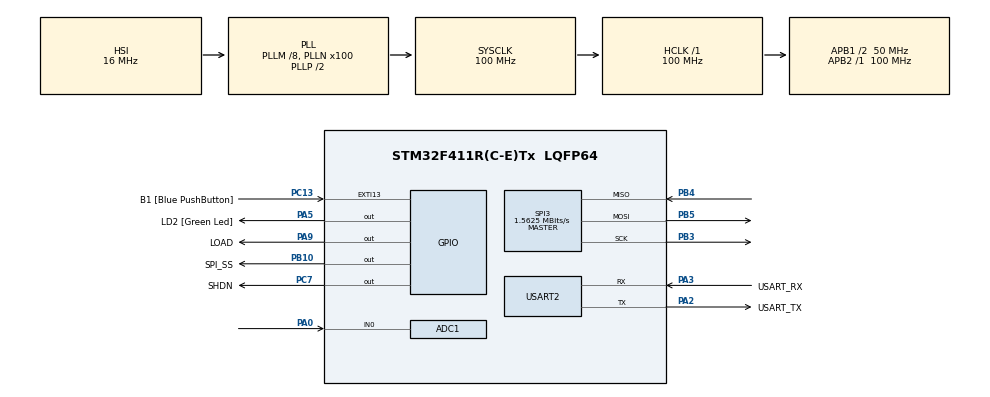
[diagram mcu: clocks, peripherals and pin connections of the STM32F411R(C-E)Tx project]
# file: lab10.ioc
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Mcu.Family=STM32F4
PB10.PinState=GPIO_PIN_SET
RCC.CortexFreq_Value=100000000
SPI3.Direction=SPI_DIRECTION_2LINES
SPI3.VirtualType=VM_MASTER
PA14.GPIO_Label=TCK
RCC.SYSCLKSource=RCC_SYSCLKSOURCE_PLLCLK
ProjectManager.StackSize=0x400
NVIC.ADC_IRQn=true\:0\:0\:false\:false\:true\:true\:true
PH0\ -\ OSC_IN.Signal=RCC_OSC_IN
RCC.HCLKFreq_Value=100000000
RCC.APB2TimFreq_Value=100000000
TIM3.Period=100
Dma.ADC1.0.Direction=DMA_PERIPH_TO_MEMORY
PC7.Signal=GPIO_Output
NVIC.DMA2_Stream0_IRQn=true\:0\:0\:false\:false\:true\:false\:true
Dma.ADC1.0.MemDataAlignment=DMA_MDATAALIGN_HALFWORD
RCC.AHBFreq_Value=100000000
SPI3.DataSize=SPI_DATASIZE_16BIT
NVIC.TIM1_TRG_COM_TIM11_IRQn=true\:0\:0\:false\:false\:true\:true\:true
RCC.HSE_VALUE=8000000
PB3.Mode=Full_Duplex_Master
PC13-ANTI_TAMP.Signal=GPXTI13
PB4.Mode=Full_Duplex_Master
PC14-OSC32_IN.Mode=LSE-External-Oscillator
PA14.Mode=Serial_Wire
TIM3.Prescaler=99
Dma.ADC1.0.PeriphInc=DMA_PINC_DISABLE
PB5.Mode=Full_Duplex_Master
PC7.PinState=GPIO_PIN_SET
SH.ADCx_IN0.0=ADC1_IN0,IN0
RCC.FLatency-AdvancedSettings=FLASH_LATENCY_3
Mcu.Package=LQFP64
SPI3.Mode=SPI_MODE_MASTER
USART2.VirtualMode=VM_ASYNC
PA2.GPIO_Label=USART_TX
NVIC.SPI3_IRQn=true\:0\:0\:false\:false\:true\:true\:true
RCC.APB1TimFreq_Value=100000000
Dma.ADC1.0.FIFOMode=DMA_FIFOMODE_DISABLE
Dma.Request0=ADC1
VP_TIM3_VS_ClockSourceINT.Mode=Internal
PB4.Signal=SPI3_MISO
PA3.Signal=USART2_RX
PC15-OSC32_OUT.Mode=LSE-External-Oscillator
Dma.ADC1.0.Instance=DMA2_Stream0
PC13-ANTI_TAMP.GPIO_Label=B1 [Blue PushButton]
PA9.GPIO_Label=LOAD
PH1\ -\ OSC_OUT.Mode=HSE-External-Clock-Source
TIM11.Prescaler=99
RCC.APB1CLKDivider=RCC_HCLK_DIV2
PC14-OSC32_IN.Signal=RCC_OSC32_IN
NVIC.USART2_IRQn=true\:0\:0\:false\:false\:true\:true\:true
PA0-WKUP.Signal=ADCx_IN0
VP_TIM11_VS_ClockSourceINT.Mode=Enable_Timer
PA13.Signal=SYS_JTMS-SWDIO
PA3.Mode=Asynchronous
Dma.ADC1.0.PeriphDataAlignment=DMA_PDATAALIGN_HALFWORD
PH0\ -\ OSC_IN.Mode=HSE-External-Clock-Source
ProjectManager.TargetToolchain=STM32CubeIDE
PB10.GPIO_Label=SPI_SS
Dma.ADC1.0.Mode=DMA_CIRCULAR
Dma.ADC1.0.Priority=DMA_PRIORITY_LOW
PA9.Signal=GPIO_Output
ADC1.Channel-1\#ChannelRegularConversion=ADC_CHANNEL_0
PA9.PinState=GPIO_PIN_SET
PC15-OSC32_OUT.Signal=RCC_OSC32_OUT
PB10.Signal=GPIO_Output
PA5.Signal=GPIO_Output
PH1\ -\ OSC_OUT.Signal=RCC_OSC_OUT
board=NUCLEO-F411RE
RCC.VCOOutputFreq_Value=200000000
NVIC.TIM3_IRQn=true\:0\:0\:false\:false\:true\:true\:true
RCC.APB2Freq_Value=100000000
SPI3.CalculateBaudRate=1.5625 MBits/s
SPI3.BaudRatePrescaler=SPI_BAUDRATEPRESCALER_32
PA13.Mode=Serial_Wire
Mcu.Name=STM32F411R(C-E)Tx
PA2.Signal=USART2_TX
PA13.GPIO_Label=TMS
ADC1.ExternalTrigConv=ADC_EXTERNALTRIGCONV_T3_TRGO
PC7.GPIO_Label=SHDN
RCC.48MHZClocksFreq_Value=50000000
PB3.Signal=SPI3_SCK
ADC1.SamplingTime-1\#ChannelRegularConversion=ADC_SAMPLETIME_3CYCLES
RCC.SYSCLKFreq_VALUE=100000000
PB5.Signal=SPI3_MOSI
ADC1.master=1
PA5.GPIO_Label=LD2 [Green Led]
PC13-ANTI_TAMP.GPIO_ModeDefaultEXTI=GPIO_MODE_IT_FALLING
ADC1.Rank-1\#ChannelRegularConversion=1
PA14.Signal=SYS_JTCK-SWCLK
Dma.ADC1.0.MemInc=DMA_MINC_ENABLE
ProjectManager.HeapSize=0x200
RCC.HSI_VALUE=16000000
NVIC.PriorityGroup=NVIC_PRIORITYGROUP_0
ADC1.NbrOfConversionFlag=1
RCC.PLLM=8
RCC.PLLN=100
PA2.Mode=Asynchronous
TIM3.TIM_MasterOutputTrigger=TIM_TRGO_UPDATE
RCC.APB1Freq_Value=50000000
PA3.GPIO_Label=USART_RX

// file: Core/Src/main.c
/* USER CODE BEGIN Header */
/**
 ******************************************************************************
 * @file           : main.c
 * @brief          : Main program body
 ******************************************************************************
 * @attention
 *
 * <h2><center>&copy; Copyright (c) 2021 STMicroelectronics.
 * All rights reserved.</center></h2>
 *
 * This software component is licensed by ST under BSD 3-Clause license,
 * the "License"; You may not use this file except in compliance with the
 * License. You may obtain a copy of the License at:
 *                        opensource.org/licenses/BSD-3-Clause
 *
 ******************************************************************************
 */
/* USER CODE END Header */
#include "main.h"
#include <string.h>
#include <stdio.h>
#include <math.h>

ADC_HandleTypeDef hadc1;
DMA_HandleTypeDef hdma_adc1;

SPI_HandleTypeDef hspi3;

TIM_HandleTypeDef htim3;
TIM_HandleTypeDef htim11;

UART_HandleTypeDef huart2;

/* USER CODE BEGIN PV */
uint16_t ADCin = 0;
uint64_t _micro = 0;
uint16_t dataOut = 0;
uint8_t DACConfig = 0b0011;
float frequency=1.0;
float Heigh_Wave_Volt =3.3;
float Low_Wave_Volt=0;
float Voltage_Output=0;
float T_On=0;
float T_Off=0;
float Duty_Cycle=30.0;
double Radian=0;
int Slope=0;
int Wave=0;
char TxDataBuffer[32] =
{ 0 };
char RxDataBuffer[32] =
{ 0 };
uint16_t STATE_Display = 0;
enum _StateDisplay
		{
			StateDisplay_Start = 0,
			StateDisplay_Menu_Print =10,
			StateDisplay_Menu_Wait_Input =20,
			StateDisplay_Wave_Form_Sawtooth=30,
			StateDisplay_Wave_Form_Sine =40,
			StateDisplay_Wave_Form_Square=50,
			StateDisplay_Increase_Frequency =60,
			StateDisplay_Decrease_Frequency=70,
			StateDisplay_Frequency_Control=80,
			StateDisplay_Wave_Form_Sawtooth_Menu=90,
			StateDisplay_Wave_Form_Sine_Menu=100,
			StateDisplay_Wave_Form_Square_Menu=110,
			StateDisplay_Volt_Control=120,
			StateDisplay_Slope_Control=130,
			StateDisplay_Duty_Control=140,
			StateDisplay_Duty_Menu=150,
			StateDisplay_Volt_Menu=160,
			StateDisplay_Slope_Menu=170,
			StateDisplay_Frequency_Menu_Print=180,

		};
/* USER CODE END PV */

void SystemClock_Config(void);
static void MX_GPIO_Init(void);
static void MX_DMA_Init(void);
static void MX_USART2_UART_Init(void);
static void MX_ADC1_Init(void);
static void MX_SPI3_Init(void);
static void MX_TIM11_Init(void);
static void MX_TIM3_Init(void);
/* USER CODE BEGIN PFP */
void MCP4922SetOutput(uint8_t Config, uint16_t DACOutput);
uint64_t micros();
int16_t UARTRecieveIT();
/* USER CODE END PFP */

int main(void)
{

  /* MCU Configuration--------------------------------------------------------*/

  /* Reset of all peripherals, Initializes the Flash interface and the Systick. */
  HAL_Init();

  /* Configure the system clock */
  SystemClock_Config();

  /* Initialize all configured peripherals */
  MX_GPIO_Init();
  MX_DMA_Init();
  MX_USART2_UART_Init();
  MX_ADC1_Init();
  MX_SPI3_Init();
  MX_TIM11_Init();
  MX_TIM3_Init();
  /* USER CODE BEGIN 2 */
	HAL_TIM_Base_Start(&htim3);
	HAL_TIM_Base_Start_IT(&htim11);
	HAL_ADC_Start_DMA(&hadc1, (uint32_t*) &ADCin, 1);
	 char Menu[]= "Sawtooth wave form  please press 1\r\n Sine wave form please press 2\r\n  Square wave form please press 3\r\n";
	 char Sawtooth_Menu[]="a: Control Frequency\r\n v:Control Voltage\r\n s: Control Slope\r\n x:Back\r\n ";
	 char Sine_Menu[]="a: Control Frequency\r\n v:Control Voltage\r\n x:Back\r\n";
	 char Square_Menu[]="a:Control Frequency\r\n v:Control Voltage\r\n D:Duty Control\r\n";
	 char Control_Frequency[]="a:+0.1 Frequency\r\n d:-0.1 Frequency\r\n x:Back\r\n";
	 char Control_Voltage[]="a:+0.1 Heigh_Wave_Volt\r\n d:-0.1 High_Wave_Volt\r\n m:+0.1 Low_Wave_Volt\r\n n: -0.1 Low_Wave_Volt\r\n";
	 char Control_Duty_Cycle[]="a: +10% Duty Cycle\r\n d: -10% Duty Cycle\r\n";
	 char Control_Slope[]="a: Slope Up\r\n d: Slope Down\r\n";
	 char Volt[30] = "";
	 char Frequency[20] = "";
	 char Slope_Characteristic[25]="";
	 char Sawtooth[]="Wave form Sawtooth\r\n";
	 char Sine[]="Wave form Sine\r\n";
	 char Square[]="Wave form Square\r\n";

	HAL_GPIO_WritePin(LOAD_GPIO_Port, LOAD_Pin, GPIO_PIN_RESET);
  /* USER CODE END 2 */

  /* Infinite loop */
  /* USER CODE BEGIN WHILE */
	while (1)
	{
		HAL_UART_Receive_IT(&huart2, (uint8_t*)RxDataBuffer, 32);
		int16_t inputchar = UARTRecieveIT();
		if(inputchar!=-1)
				{

					sprintf(TxDataBuffer, "ReceivedChar:[%c]\r\n", inputchar);
					HAL_UART_Transmit(&huart2, (uint8_t*)TxDataBuffer, strlen(TxDataBuffer), 1000);
				}

		switch(STATE_Display)
		{
		case StateDisplay_Start:
			STATE_Display = StateDisplay_Menu_Print;
			break;
		case StateDisplay_Menu_Print:
			HAL_UART_Transmit(&huart2, (uint8_t*)Menu, strlen(Menu), 10);
			STATE_Display = StateDisplay_Menu_Wait_Input;
			break;
		case StateDisplay_Menu_Wait_Input:
			if(inputchar=='1')
			{
				STATE_Display = StateDisplay_Wave_Form_Sawtooth;
				HAL_UART_Transmit(&huart2, (uint8_t*)Sawtooth, strlen(Sawtooth), 1000);
				break;
			}
			else if(inputchar=='2')
			{
				STATE_Display = StateDisplay_Wave_Form_Sine;
				HAL_UART_Transmit(&huart2, (uint8_t*)Sine, strlen(Sine), 1000);
				break;
			}
			else if (inputchar=='3')
			{
				STATE_Display = StateDisplay_Wave_Form_Square;
				HAL_UART_Transmit(&huart2, (uint8_t*)Square, strlen(Square), 1000);
				break;
			}
			break;
		case StateDisplay_Frequency_Control:
			switch(inputchar)
			{
			case '0':
				break;
			case 'a':
				STATE_Display = StateDisplay_Increase_Frequency;
				break;
			case 'd':
				STATE_Display = StateDisplay_Decrease_Frequency;
				break;
			case 'x':
				if(Wave==1)
				{
					STATE_Display=StateDisplay_Wave_Form_Sawtooth;
				}
				else if(Wave==2)
				{
					STATE_Display=StateDisplay_Wave_Form_Sine;
				}
				else if(Wave==3)
				{
					STATE_Display=StateDisplay_Wave_Form_Square;
				}
				break;
			}
			break;
		case StateDisplay_Decrease_Frequency:
			frequency-=0.1;
			if(frequency<0)
			{
				frequency=0;
			}
			sprintf(Frequency,"frequency:%f\r\n",frequency);
			HAL_UART_Transmit(&huart2, (uint8_t*)Frequency, strlen(Frequency), 10);
			STATE_Display =StateDisplay_Frequency_Control;
			break;
		case StateDisplay_Increase_Frequency:
			frequency+=0.1;
			if(frequency>10)
			{
				frequency=10;
			}
			sprintf(Frequency,"Frequency: %f \r\n",frequency);
			HAL_UART_Transmit(&huart2, (uint8_t*)Frequency, strlen(Frequency), 10);
			STATE_Display=StateDisplay_Frequency_Control;
			break;
		case StateDisplay_Wave_Form_Sawtooth:
			HAL_UART_Transmit(&huart2, (uint8_t*)Sawtooth_Menu, strlen(Sawtooth_Menu), 10);
			STATE_Display =StateDisplay_Wave_Form_Sawtooth_Menu;
			break;
		case StateDisplay_Wave_Form_Sine:
			HAL_UART_Transmit(&huart2, (uint8_t*)Sine_Menu, strlen(Sine_Menu), 10);
			STATE_Display =StateDisplay_Wave_Form_Sine_Menu;
			break;
		case StateDisplay_Wave_Form_Square:
			HAL_UART_Transmit(&huart2, (uint8_t*)Square_Menu, strlen(Square_Menu), 10);
			STATE_Display =StateDisplay_Wave_Form_Square_Menu;
			break;
		case StateDisplay_Volt_Control:
			HAL_UART_Transmit(&huart2, (uint8_t*)Control_Voltage, strlen(Control_Voltage), 10);
			STATE_Display= StateDisplay_Volt_Menu;
			break;
		case StateDisplay_Frequency_Menu_Print:
			HAL_UART_Transmit(&huart2, (uint8_t*)Control_Frequency, strlen(Control_Frequency), 10);
			STATE_Display= StateDisplay_Frequency_Control;
			break;
		case StateDisplay_Wave_Form_Sawtooth_Menu:
			Wave=1;
			if(inputchar=='a')
			{
				STATE_Display =StateDisplay_Frequency_Menu_Print;
				break;
			}
			else if(inputchar=='v')
			{
				STATE_Display =StateDisplay_Volt_Control;
				break;
			}
			else if(inputchar=='s')
			{
				STATE_Display =StateDisplay_Slope_Control;
				break;
			}
			else if(inputchar=='x')
			{
				STATE_Display=StateDisplay_Start;
				break;
			}
			break;
		case StateDisplay_Wave_Form_Sine_Menu:
			Wave=2;
			if(inputchar=='a')
			{
				STATE_Display =StateDisplay_Frequency_Menu_Print;
				break;
			}
			else if(inputchar=='v')
			{
				STATE_Display =StateDisplay_Volt_Control;
				break;
			}
			else if(inputchar=='x')
			{
				STATE_Display=StateDisplay_Start;
				break;
			}
			break;
		case StateDisplay_Wave_Form_Square_Menu:
			Wave=3;
			if(inputchar=='a')
			{
				STATE_Display =StateDisplay_Frequency_Menu_Print;
			}
			else if(inputchar=='v')
			{
				STATE_Display =StateDisplay_Volt_Control;
			}
			else if(inputchar=='d')
			{
				STATE_Display =StateDisplay_Duty_Control;
			}
			else if(inputchar == 'x')
			{
				STATE_Display = StateDisplay_Start;
			}
			break;
		case StateDisplay_Volt_Menu:
			if(inputchar=='a')
			{
				Heigh_Wave_Volt+=0.1;
				{
					if(Heigh_Wave_Volt>3.3)
					{
						Heigh_Wave_Volt=3.3;
					}
					sprintf(Volt,"Height_Volt: %f \r\n  Low_Volt:%f\r\n",Heigh_Wave_Volt,Low_Wave_Volt);
					HAL_UART_Transmit(&huart2, (uint8_t*)Volt, strlen(Volt), 10);
					STATE_Display=StateDisplay_Volt_Control;
				}
			}
			else if(inputchar=='d')
			{
				Heigh_Wave_Volt-=0.1;
				{
					if(Heigh_Wave_Volt<=0)
					{
						Heigh_Wave_Volt=0;
					}
						sprintf(Volt,"Height_Volt: %f \r\n  Low_Volt:%f\r\n",Heigh_Wave_Volt,Low_Wave_Volt);
					HAL_UART_Transmit(&huart2, (uint8_t*)Volt, strlen(Volt), 10);
					STATE_Display=StateDisplay_Volt_Control;
				}
			}
			else if(inputchar=='m')
			{
				Low_Wave_Volt+=0.1;
				if(Low_Wave_Volt>3.3)
				{
					Low_Wave_Volt=3.3;
				}
				sprintf(Volt,"Height_Volt: %f \r\n  Low_Volt:%f\r\n",Heigh_Wave_Volt,Low_Wave_Volt);
				HAL_UART_Transmit(&huart2, (uint8_t*)Volt, strlen(Volt), 10);
				STATE_Display=StateDisplay_Volt_Control;
			}
			else if(inputchar=='n')
			{
				Low_Wave_Volt-=0.1;
				if(Low_Wave_Volt<=0)
				{
					Low_Wave_Volt=0;
				}
				sprintf(Volt,"Height_Volt: %f \r\n  Low_Volt:%f\r\n",Heigh_Wave_Volt,Low_Wave_Volt);
				HAL_UART_Transmit(&huart2, (uint8_t*)Volt, strlen(Volt), 10);
				STATE_Display=StateDisplay_Volt_Control;
			}
			else if(inputchar=='x')
			{
				if(Wave==1)
				{
					STATE_Display=StateDisplay_Wave_Form_Sawtooth;
				}
				else if(Wave==2)
				{
					STATE_Display=StateDisplay_Wave_Form_Sine;
				}
				else if(Wave==3)
				{
					STATE_Display=StateDisplay_Wave_Form_Square;
				}
			}
			break;
		case StateDisplay_Slope_Control:
			HAL_UART_Transmit(&huart2, (uint8_t*)Control_Slope, strlen(Control_Slope), 10);
			STATE_Display = StateDisplay_Slope_Menu;
			break;
		case StateDisplay_Slope_Menu:
			if(inputchar=='a')
			{
				Slope=0;
				sprintf(Slope_Characteristic,"Slope Up\r\n");
				HAL_UART_Transmit(&huart2, (uint8_t*)Slope_Characteristic, strlen(Slope_Characteristic), 10);
				STATE_Display = StateDisplay_Slope_Control;
			}
			if(inputchar=='d')
			{
				Slope=1;
				sprintf(Slope_Characteristic,"Slope Down\r\n");
				HAL_UART_Transmit(&huart2, (uint8_t*)Slope_Characteristic, strlen(Slope_Characteristic), 10);
				STATE_Display = StateDisplay_Slope_Control;
			}
			if(inputchar=='x')
			{
				STATE_Display = StateDisplay_Wave_Form_Sawtooth;
			}
			break;
		case StateDisplay_Duty_Control:
			HAL_UART_Transmit(&huart2, (uint8_t*)Control_Duty_Cycle, strlen(Control_Duty_Cycle), 10);
			STATE_Display=StateDisplay_Duty_Menu;
			break;
		case StateDisplay_Duty_Menu:
			if(inputchar=='a')
			{
				 Duty_Cycle+= 10;
				if(Duty_Cycle > 100)
				{
					Duty_Cycle = 100;
				}
				sprintf(Control_Duty_Cycle,"Duty Cycle:%f % \r\n",Duty_Cycle);
				HAL_UART_Transmit(&huart2, (uint8_t*)Control_Duty_Cycle, strlen(Control_Duty_Cycle), 10);
				STATE_Display=StateDisplay_Duty_Control;
			}
			else if(inputchar=='d')
			{
				Duty_Cycle-=10;
				if(Duty_Cycle<=0)
				{
					Duty_Cycle=0;
				}
				sprintf(Control_Duty_Cycle,"Duty Cycle:%f % \r\n",Duty_Cycle);
				HAL_UART_Transmit(&huart2, (uint8_t*)Control_Duty_Cycle, strlen(Control_Duty_Cycle), 10);
				STATE_Display=StateDisplay_Duty_Control;
			}
			else if(inputchar=='x')
			{
				STATE_Display=StateDisplay_Wave_Form_Square;
			}
		}

		static uint64_t timestamp = 0;
		static uint64_t timestamp_final = 0;
		if(micros()-timestamp>100)
		{
			if(Wave==1)// saw tooth
			{
				if(Slope==0)//Slope Up
				{
					if(micros()-timestamp_final<=1000000/frequency)
					{
						Voltage_Output= Low_Wave_Volt+((Heigh_Wave_Volt-Low_Wave_Volt)*((micros()-timestamp_final)/(1000000/frequency)));
					}
					else if(micros()-timestamp_final>(1000000/frequency))
					{
						timestamp_final=micros();
					}
				}
				else if(Slope==1)//Slope Down
				{
					if(micros()-timestamp_final<=1000000/frequency)
					{
						Voltage_Output= Heigh_Wave_Volt-((Heigh_Wave_Volt-Low_Wave_Volt)*((micros()-timestamp_final)/(1000000/frequency)));
					}
					else if(micros()-timestamp_final>(1000000/frequency))
					{
						timestamp_final=micros();
					}
				}
			}
			if(Wave==3)//square
			{
				T_On=(Duty_Cycle/100)*(1000000/frequency);
				if(micros()-timestamp_final<=(1000000/frequency))
				{
					if(micros()-timestamp_final<=T_On)
					{
						Voltage_Output=Heigh_Wave_Volt;
					}
					else if(micros()-timestamp_final>T_On)
					{
						Voltage_Output=Low_Wave_Volt;
					}
				}
				else if(micros()-timestamp_final>(1000000/frequency))
				{
					timestamp_final=micros();
				}
			}
			if(Wave==2)//sine
			{
				if(micros()-timestamp_final<=(1000000/frequency))
				{
					Radian = ((micros() - timestamp_final)/(1000000/frequency))*2*3.14;
					Voltage_Output = ((Heigh_Wave_Volt-Low_Wave_Volt)/2+Low_Wave_Volt) + (((Heigh_Wave_Volt-Low_Wave_Volt)/2)*sin(Radian+1));
				}
				else if(micros()-timestamp_final>(1000000/frequency))
				{
					timestamp_final=micros();
				}
			}
			dataOut=(int)(Voltage_Output*4096/3.3); //0-4096
			timestamp=micros();
			if (hspi3.State == HAL_SPI_STATE_READY && HAL_GPIO_ReadPin(SPI_SS_GPIO_Port, SPI_SS_Pin)== GPIO_PIN_SET)
			{
				MCP4922SetOutput(DACConfig, dataOut);
			}
		}

//		static uint64_t timestamp = 0;
//		if (micros() - timestamp > 100)
//		{
//			timestamp = micros();
//			dataOut++;
//			dataOut %= 4096;
//			if (hspi3.State == HAL_SPI_STATE_READY
//					&& HAL_GPIO_ReadPin(SPI_SS_GPIO_Port, SPI_SS_Pin)
//							== GPIO_PIN_SET)
//			{
//				MCP4922SetOutput(DACConfig, dataOut);
//			}
//		}
    /* USER CODE END WHILE */

	}
}

void SystemClock_Config(void)
{
  RCC_OscInitTypeDef RCC_OscInitStruct = {0};
  RCC_ClkInitTypeDef RCC_ClkInitStruct = {0};

  /** Configure the main internal regulator output voltage
  */
  __HAL_RCC_PWR_CLK_ENABLE();
  __HAL_PWR_VOLTAGESCALING_CONFIG(PWR_REGULATOR_VOLTAGE_SCALE1);
  /** Initializes the RCC Oscillators according to the specified parameters
  * in the RCC_OscInitTypeDef structure.
  */
  RCC_OscInitStruct.OscillatorType = RCC_OSCILLATORTYPE_HSI;
  RCC_OscInitStruct.HSIState = RCC_HSI_ON;
  RCC_OscInitStruct.HSICalibrationValue = RCC_HSICALIBRATION_DEFAULT;
  RCC_OscInitStruct.PLL.PLLState = RCC_PLL_ON;
  RCC_OscInitStruct.PLL.PLLSource = RCC_PLLSOURCE_HSI;
  RCC_OscInitStruct.PLL.PLLM = 8;
  RCC_OscInitStruct.PLL.PLLN = 100;
  RCC_OscInitStruct.PLL.PLLP = RCC_PLLP_DIV2;
  RCC_OscInitStruct.PLL.PLLQ = 4;
  if (HAL_RCC_OscConfig(&RCC_OscInitStruct) != HAL_OK)
  {
    Error_Handler();
  }
  /** Initializes the CPU, AHB and APB buses clocks
  */
  RCC_ClkInitStruct.ClockType = RCC_CLOCKTYPE_HCLK|RCC_CLOCKTYPE_SYSCLK
                              |RCC_CLOCKTYPE_PCLK1|RCC_CLOCKTYPE_PCLK2;
  RCC_ClkInitStruct.SYSCLKSource = RCC_SYSCLKSOURCE_PLLCLK;
  RCC_ClkInitStruct.AHBCLKDivider = RCC_SYSCLK_DIV1;
  RCC_ClkInitStruct.APB1CLKDivider = RCC_HCLK_DIV2;
  RCC_ClkInitStruct.APB2CLKDivider = RCC_HCLK_DIV1;

  if (HAL_RCC_ClockConfig(&RCC_ClkInitStruct, FLASH_LATENCY_3) != HAL_OK)
  {
    Error_Handler();
  }
}

static void MX_ADC1_Init(void)
{

  ADC_ChannelConfTypeDef sConfig = {0};

  /** Configure the global features of the ADC (Clock, Resolution, Data Alignment and number of conversion)
  */
  hadc1.Instance = ADC1;
  hadc1.Init.ClockPrescaler = ADC_CLOCK_SYNC_PCLK_DIV4;
  hadc1.Init.Resolution = ADC_RESOLUTION_12B;
  hadc1.Init.ScanConvMode = DISABLE;
  hadc1.Init.ContinuousConvMode = DISABLE;
  hadc1.Init.DiscontinuousConvMode = DISABLE;
  hadc1.Init.ExternalTrigConvEdge = ADC_EXTERNALTRIGCONVEDGE_RISING;
  hadc1.Init.ExternalTrigConv = ADC_EXTERNALTRIGCONV_T3_TRGO;
  hadc1.Init.DataAlign = ADC_DATAALIGN_RIGHT;
  hadc1.Init.NbrOfConversion = 1;
  hadc1.Init.DMAContinuousRequests = DISABLE;
  hadc1.Init.EOCSelection = ADC_EOC_SINGLE_CONV;
  if (HAL_ADC_Init(&hadc1) != HAL_OK)
  {
    Error_Handler();
  }
  /** Configure for the selected ADC regular channel its corresponding rank in the sequencer and its sample time.
  */
  sConfig.Channel = ADC_CHANNEL_0;
  sConfig.Rank = 1;
  sConfig.SamplingTime = ADC_SAMPLETIME_3CYCLES;
  if (HAL_ADC_ConfigChannel(&hadc1, &sConfig) != HAL_OK)
  {
    Error_Handler();
  }

}

static void MX_SPI3_Init(void)
{

  /* SPI3 parameter configuration*/
  hspi3.Instance = SPI3;
  hspi3.Init.Mode = SPI_MODE_MASTER;
  hspi3.Init.Direction = SPI_DIRECTION_2LINES;
  hspi3.Init.DataSize = SPI_DATASIZE_16BIT;
  hspi3.Init.CLKPolarity = SPI_POLARITY_LOW;
  hspi3.Init.CLKPhase = SPI_PHASE_1EDGE;
  hspi3.Init.NSS = SPI_NSS_SOFT;
  hspi3.Init.BaudRatePrescaler = SPI_BAUDRATEPRESCALER_32;
  hspi3.Init.FirstBit = SPI_FIRSTBIT_MSB;
  hspi3.Init.TIMode = SPI_TIMODE_DISABLE;
  hspi3.Init.CRCCalculation = SPI_CRCCALCULATION_DISABLE;
  hspi3.Init.CRCPolynomial = 10;
  if (HAL_SPI_Init(&hspi3) != HAL_OK)
  {
    Error_Handler();
  }

}

static void MX_TIM3_Init(void)
{

  TIM_ClockConfigTypeDef sClockSourceConfig = {0};
  TIM_MasterConfigTypeDef sMasterConfig = {0};

  htim3.Instance = TIM3;
  htim3.Init.Prescaler = 99;
  htim3.Init.CounterMode = TIM_COUNTERMODE_UP;
  htim3.Init.Period = 100;
  htim3.Init.ClockDivision = TIM_CLOCKDIVISION_DIV1;
  htim3.Init.AutoReloadPreload = TIM_AUTORELOAD_PRELOAD_DISABLE;
  if (HAL_TIM_Base_Init(&htim3) != HAL_OK)
  {
    Error_Handler();
  }
  sClockSourceConfig.ClockSource = TIM_CLOCKSOURCE_INTERNAL;
  if (HAL_TIM_ConfigClockSource(&htim3, &sClockSourceConfig) != HAL_OK)
  {
    Error_Handler();
  }
  sMasterConfig.MasterOutputTrigger = TIM_TRGO_UPDATE;
  sMasterConfig.MasterSlaveMode = TIM_MASTERSLAVEMODE_DISABLE;
  if (HAL_TIMEx_MasterConfigSynchronization(&htim3, &sMasterConfig) != HAL_OK)
  {
    Error_Handler();
  }

}

static void MX_TIM11_Init(void)
{

  htim11.Instance = TIM11;
  htim11.Init.Prescaler = 99;
  htim11.Init.CounterMode = TIM_COUNTERMODE_UP;
  htim11.Init.Period = 65535;
  htim11.Init.ClockDivision = TIM_CLOCKDIVISION_DIV1;
  htim11.Init.AutoReloadPreload = TIM_AUTORELOAD_PRELOAD_DISABLE;
  if (HAL_TIM_Base_Init(&htim11) != HAL_OK)
  {
    Error_Handler();
  }

}

static void MX_USART2_UART_Init(void)
{

  huart2.Instance = USART2;
  huart2.Init.BaudRate = 115200;
  huart2.Init.WordLength = UART_WORDLENGTH_8B;
  huart2.Init.StopBits = UART_STOPBITS_1;
  huart2.Init.Parity = UART_PARITY_NONE;
  huart2.Init.Mode = UART_MODE_TX_RX;
  huart2.Init.HwFlowCtl = UART_HWCONTROL_NONE;
  huart2.Init.OverSampling = UART_OVERSAMPLING_16;
  if (HAL_UART_Init(&huart2) != HAL_OK)
  {
    Error_Handler();
  }

}

static void MX_DMA_Init(void)
{

  /* DMA controller clock enable */
  __HAL_RCC_DMA2_CLK_ENABLE();

  /* DMA interrupt init */
  /* DMA2_Stream0_IRQn interrupt configuration */
  HAL_NVIC_SetPriority(DMA2_Stream0_IRQn, 0, 0);
  HAL_NVIC_EnableIRQ(DMA2_Stream0_IRQn);

}

static void MX_GPIO_Init(void)
{
  GPIO_InitTypeDef GPIO_InitStruct = {0};

  /* GPIO Ports Clock Enable */
  __HAL_RCC_GPIOC_CLK_ENABLE();
  __HAL_RCC_GPIOH_CLK_ENABLE();
  __HAL_RCC_GPIOA_CLK_ENABLE();
  __HAL_RCC_GPIOB_CLK_ENABLE();

  /*Configure GPIO pin Output Level */
  HAL_GPIO_WritePin(LD2_GPIO_Port, LD2_Pin, GPIO_PIN_RESET);

  /*Configure GPIO pin Output Level */
  HAL_GPIO_WritePin(SPI_SS_GPIO_Port, SPI_SS_Pin, GPIO_PIN_SET);

  /*Configure GPIO pin Output Level */
  HAL_GPIO_WritePin(SHDN_GPIO_Port, SHDN_Pin, GPIO_PIN_SET);

  /*Configure GPIO pin Output Level */
  HAL_GPIO_WritePin(LOAD_GPIO_Port, LOAD_Pin, GPIO_PIN_SET);

  /*Configure GPIO pin : B1_Pin */
  GPIO_InitStruct.Pin = B1_Pin;
  GPIO_InitStruct.Mode = GPIO_MODE_IT_FALLING;
  GPIO_InitStruct.Pull = GPIO_NOPULL;
  HAL_GPIO_Init(B1_GPIO_Port, &GPIO_InitStruct);

  /*Configure GPIO pins : LD2_Pin LOAD_Pin */
  GPIO_InitStruct.Pin = LD2_Pin|LOAD_Pin;
  GPIO_InitStruct.Mode = GPIO_MODE_OUTPUT_PP;
  GPIO_InitStruct.Pull = GPIO_NOPULL;
  GPIO_InitStruct.Speed = GPIO_SPEED_FREQ_LOW;
  HAL_GPIO_Init(GPIOA, &GPIO_InitStruct);

  /*Configure GPIO pin : SPI_SS_Pin */
  GPIO_InitStruct.Pin = SPI_SS_Pin;
  GPIO_InitStruct.Mode = GPIO_MODE_OUTPUT_PP;
  GPIO_InitStruct.Pull = GPIO_NOPULL;
  GPIO_InitStruct.Speed = GPIO_SPEED_FREQ_LOW;
  HAL_GPIO_Init(SPI_SS_GPIO_Port, &GPIO_InitStruct);

  /*Configure GPIO pin : SHDN_Pin */
  GPIO_InitStruct.Pin = SHDN_Pin;
  GPIO_InitStruct.Mode = GPIO_MODE_OUTPUT_PP;
  GPIO_InitStruct.Pull = GPIO_NOPULL;
  GPIO_InitStruct.Speed = GPIO_SPEED_FREQ_LOW;
  HAL_GPIO_Init(SHDN_GPIO_Port, &GPIO_InitStruct);

}

/* USER CODE BEGIN 4 */
int16_t UARTRecieveIT()
{
	static uint32_t dataPos =0;
	int16_t data=-1;
	if(huart2.RxXferSize - huart2.RxXferCount!=dataPos)
	{
		data=RxDataBuffer[dataPos];
		dataPos= (dataPos+1)%huart2.RxXferSize;
	}
	return data;
}
void HAL_UART_RxCpltCallback(UART_HandleTypeDef *huart)
{
	sprintf(TxDataBuffer, "Received:[%s]\r\n", RxDataBuffer);
	HAL_UART_Transmit(&huart2, (uint8_t*)TxDataBuffer, strlen(TxDataBuffer), 1000);
}
void MCP4922SetOutput(uint8_t Config, uint16_t DACOutput)
{
	uint32_t OutputPacket = (DACOutput & 0x0fff) | ((Config & 0xf) << 12);
	HAL_GPIO_WritePin(SPI_SS_GPIO_Port, SPI_SS_Pin, GPIO_PIN_RESET);
	HAL_SPI_Transmit_IT(&hspi3, &OutputPacket, 1);
}

void HAL_SPI_TxCpltCallback(SPI_HandleTypeDef *hspi)
{
	if (hspi == &hspi3)
	{
		HAL_GPIO_WritePin(SPI_SS_GPIO_Port, SPI_SS_Pin, GPIO_PIN_SET);
	}
}

void HAL_TIM_PeriodElapsedCallback(TIM_HandleTypeDef *htim)
{
	if (htim == &htim11)
	{
		_micro += 65535;
	}
}

inline uint64_t micros()
{
	return htim11.Instance->CNT + _micro;
}
/* USER CODE END 4 */

void Error_Handler(void)
{
	__disable_irq();
	while (1)
	{
	}
}

/************************ (C) COPYRIGHT STMicroelectronics *****END OF FILE****/
